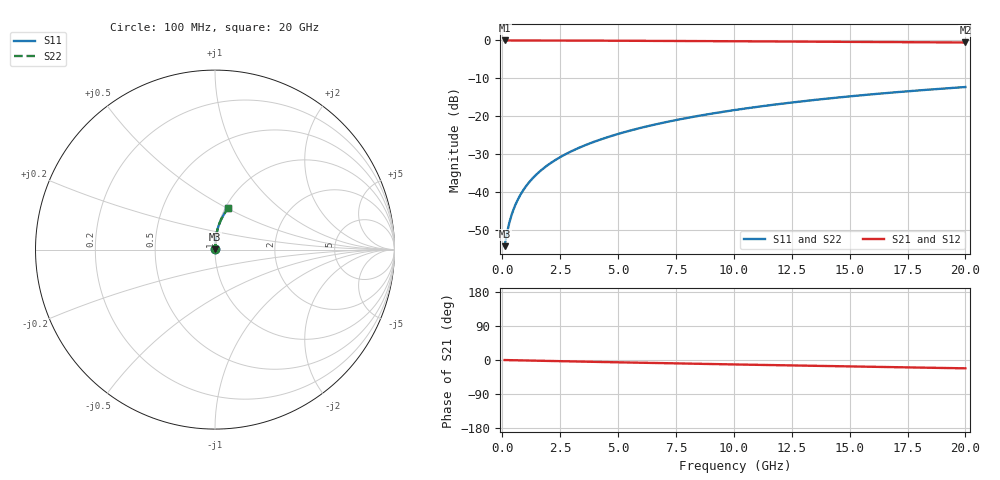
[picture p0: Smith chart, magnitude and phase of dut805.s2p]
! Touchstone file exported from HFSS 2024.1.0
!  File:  C:/UserFiles/LocalFiles/RDL_TSV_Batchsim/temp_RDL_top_805_1779853887.aedt
!  Generated:  11:53:46 AM May 27, 2026
!  Design:  RDL_top
!  Project:  temp_RDL_top_805_1779853887
!  Setup:  Setup1
!  Solution:  Sweep
! Variables:
!  dtsv = 10.80580581um
!  hbump = 3um
!  htsv = 86.69um
!  ldown = 100um
!  lrdl = 277.79um
!  p = 40
!  p1 = 47.38um
!  rhole = 1um
!  t = 450um
!  tdown = 3.915915916um
!  trdl = 4.02um
!  wdown = 15.38538539um
!  wrdl = 17.98um
# GHz S MA R 50.000000
! Terminal data exported
! Port[1] = Box2_T1
! Port[2] = Box2_T2
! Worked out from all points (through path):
!   200 points, 100 MHz to 20 GHz, reference 50 ohm
!   highest |S21| = -0.01 dB at 100 MHz (marker M1); lowest = -0.5 dB at 20 GHz (marker M2)
!   group delay of S21, straight-line fit = 3.03 ps
!   lowest |S11| = -54.1 dB at 100 MHz (marker M3), VSWR 1.00, Z = 50.2 + j0.124 ohm
!   |S11| at or under -10 dB: start of sweep to end of sweep
!   |S22| runs from -54.1 to -12.3 dB; largest |S21 - S12| = 2.1e-15
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0.1  0.001963 39.1  0.9985 -0.1  0.9985 -0.1  0.001963 39.1
! Gamma 0 0 0 0
! Port Impedance 50 0 50 0
0.2  0.002905 57.0  0.9984 -0.3  0.9984 -0.3  0.002905 57.0
0.3  0.003957 65.5  0.9983 -0.4  0.9983 -0.4  0.003957 65.5
0.4  0.00504 70.5  0.9983 -0.5  0.9983 -0.5  0.00504 70.5
0.5  0.006142 73.8  0.9982 -0.6  0.9982 -0.6  0.006142 73.8
0.6  0.007255 76.1  0.9981 -0.8  0.9981 -0.8  0.007256 76.1
0.8  0.009509 79.2  0.998 -1.0  0.998 -1.0  0.009509 79.2
1.1  0.01293 81.7  0.9978 -1.4  0.9978 -1.4  0.01293 81.7
1.5  0.01752 83.6  0.9974 -1.9  0.9974 -1.9  0.01752 83.6
1.8  0.02099 84.4  0.997 -2.2  0.997 -2.2  0.02099 84.4
2.1  0.02447 84.9  0.9966 -2.6  0.9966 -2.6  0.02447 84.9
2.7  0.03146 85.5  0.9957 -3.4  0.9957 -3.4  0.03146 85.5
3.5  0.04086 85.9  0.9941 -4.3  0.9941 -4.3  0.04086 85.9
4.2  0.04918 85.9  0.9925 -5.2  0.9925 -5.2  0.04918 85.9
5  0.05879 85.7  0.9904 -6.1  0.9904 -6.1  0.05879 85.7
5.9  0.06974 85.4  0.9879 -7.1  0.9879 -7.1  0.06974 85.4
6.8  0.08081 84.9  0.9852 -8.2  0.9852 -8.2  0.08081 84.9
8.4  0.1008 83.8  0.9801 -10.0  0.9801 -10.0  0.1007 83.8
10.1  0.1221 82.3  0.9744 -11.8  0.9744 -11.8  0.1221 82.3
13.4  0.1637 79.1  0.963 -15.3  0.963 -15.3  0.1637 79.1
16.7  0.2044 75.6  0.9511 -18.7  0.9511 -18.7  0.2043 75.6
20  0.2436 72.1  0.9387 -22.0  0.9387 -22.0  0.2436 72.1
